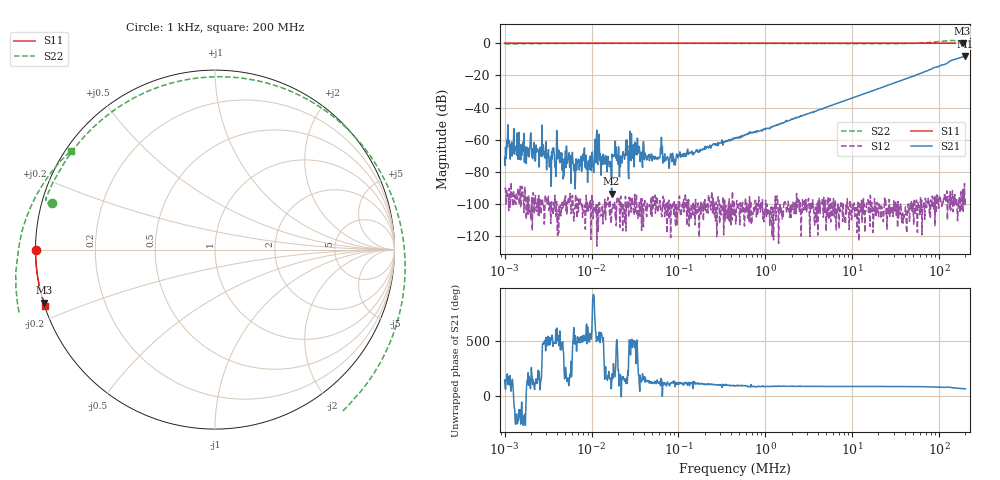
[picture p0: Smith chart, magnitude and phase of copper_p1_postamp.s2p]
! ListType=Log
# MHZ S RI R 50
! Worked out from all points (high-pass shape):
!   1000 points, 1 kHz to 200 MHz, reference 50 ohm
!   highest |S21| = -8.02 dB at 200 MHz (marker M1); lowest = -93.4 dB at 17.02 kHz (marker M2)
!   |S21| within 3 dB of the highest: 134.5 MHz to end of sweep
!   lowest |S11| = 0.0 dB at 185.9 MHz (marker M3), VSWR 809.85, Z = 0.0632 - j7.58 ohm
!   |S11| at or under -10 dB: nowhere
!   |S22| runs from -0.5 to 1.7 dB; largest |S21 - S12| = 0.4
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0.001  -0.998 -0.000362  -0.000234 0.000162  -1.15e-05 -2.99e-05  -0.9089 0.26
0.00113  -0.9979 -0.000355  -0.000148 0.000795  -2.59e-05 -1.73e-05  -0.9113 0.2587
0.0028251  -0.9979 -0.000207  -0.000173 0.000411  6.9e-06 1.8e-06  -0.9333 0.2619
0.0032315  -0.9982 -0.000166  -5.19e-05 0.000251  -4e-07 -6.4e-06  -0.9355 0.2636
0.0042281  -0.9981 -0.000189  -5.08e-05 0.000457  6.4e-06 -5.4e-06  -0.9389 0.2677
0.0076941  -0.9983 9.1e-06  -0.000103 1.19e-05  -2.1e-06 8.4e-06  -0.9422 0.2759
0.0100669  -0.9983 2.13e-05  -0.000194 -0.000105  -9.3e-06 -1.86e-05  -0.9425 0.2786
0.0115151  -0.9982 -0.000122  -0.00178 0.000931  3e-07 -4e-07  -0.9427 0.2799
0.0131716  -0.9983 -0.000117  -0.000296 -7.25e-05  -4.5e-06 1e-06  -0.9427 0.2807
0.0170243  -0.9982 -5.99e-05  -2.6e-06 2.12e-05  -4.4e-06 -2.1e-06  -0.9425 0.2826
0.0333364  -0.9982 -4.4e-05  -0.000288 0.000174  3.3e-06 -3.7e-06  -0.9417 0.286
0.0584804  -0.9982 -0.000118  -0.000143 0.000252  1.1e-06 -7.5e-06  -0.9406 0.2882
0.4499541  -0.9982 -0.000757  -5.53e-05 0.0011  1.8e-06 7.1e-06  -0.9349 0.303
3.419952  -0.9985 -0.00575  0.000478 0.00694  -1.8e-06 -7.2e-06  -0.8867 0.4028
26.31347  -0.9983 -0.043  0.00369 0.0502  3.6e-06 -3.5e-06  -0.3118 0.9064
52.80066  -0.996 -0.0856  0.00964 0.0987  1.9e-06 -7e-06  0.5492 0.8169
87.1363  -0.9897 -0.1407  0.0269 0.1711  4.8e-06 -4.1e-06  1.054 -0.2074
107.2524  -0.9849 -0.1726  0.0444 0.2068  -1.6e-06 -8.5e-06  0.7458 -0.8653
133.6352  -0.9753 -0.2141  0.0593 0.2721  -2.39e-05 -5.9e-06  -0.1491 -1.193
162.4884  -0.9638 -0.2595  0.1155 0.3113  1.3e-06 -2.8e-06  -0.9968 -0.6238
185.8626  -0.9528 -0.2955  0.1492 0.342  -2.71e-05 -8.3e-06  -1.055 0.1677
200  -0.9468 -0.317  0.1712 0.3582  -1.29e-05 -6.6e-06  -0.8026 0.5506
